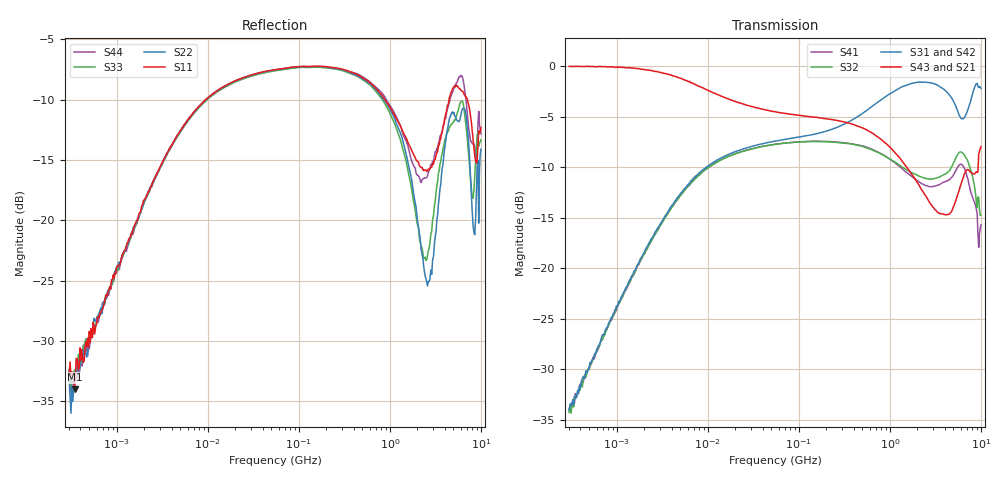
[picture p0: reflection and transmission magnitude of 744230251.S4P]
! This data is being provided by Wuerth Elektronik eiSos GmbH & Co. KG to the industry for analysis.
! Document information:
! Version:rev19a Date: 16/12/2019
! Component information:
! Match Code: WE-CNSW P/N: 744230251 Size: 0603
! Disclaimer:  While Würth Elektronik eiSos has made every reasonable effort to ensure the accuracy
! of the information provided, Würth Elektronik eiSos does not guarantee the exemption of error on the
! data collection measurements, nor does Würth Elektronik eiSos guarantee that the information is current.
! Würth Elektronik eiSos reserves the right to make any adjustments at any time without notice.
! Würth Elektronik eiSos expressly disclaims all implied warranties regarding this measurement data collection.
! Note 1  This data measurement is representative according to the product implementation into the fixture.
! Component behavior is sensitive to implementation into the fixture, which includes board
! materials, trace geometry information, connector pin out, layer connection, use of de-embedding
! techniques, etc.
! Note 2 - The fixture was designed specifically to match the 50 Ohm line impedance, as well as the connector impedance,
! in order to accomplish a reliable measurement without reflections in the trace. Any other implementation of the fixture will change the obtained
! measurement performance. The used fixture behavior was de-embedded to accomplish reliable measurement results.
! The test setup consisted of the following:
!  - Agilent VNA E5071C or E5071B
!  - Calibrations are SOLT (short open load thru)
!  - De-embedding of the SMA's or line cards were included
!  - Equipment Settings -
!  - Sampling - 501 points
!  - IF BW  70 kHz
!  - Averaging  Not used
!  Port 1----->|1|  |2| -----> Port 3
!  |  DUT  |
!  Port 2----->|3|  |4| -----> Port 4
!*VNA Port --> |Port in Datasheet|
! |Port in Datasheet| --> VNA Port
! For further information regarding this testing, please contact
! Wuerth Elektronik eiSos
! Contact: EDA team in QDC
! Email: libraries@we-online.com or libraries@we-online.de
# Hz S dB R 50
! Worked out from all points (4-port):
!   501 points, 300 kHz to 10 GHz, reference 50 ohm
!   strongest paths, dB at 300 kHz, 4.054 MHz, 54.77 MHz, 740.1 MHz, 10 GHz:
!     S43: 0.0, -0.9, -4.5, -7.0, -8.0
!     S21: -0.1, -1.0, -4.6, -7.1, -8.0
!     S31: -34.0, -13.7, -7.4, -3.6, -2.2
!     S42: -34.1, -13.8, -7.4, -3.6, -2.1
!     S32: -34.2, -13.9, -7.7, -8.5, -14.7
!     S41: -34.0, -13.9, -7.7, -8.5, -15.7
!   lowest |S11| = -34.0 dB at 344 kHz (marker M1), VSWR 1.04, Z = 50.6 + j1.92 ohm
!   |S11| at or under -10 dB: start of sweep to 9.463 MHz; 886.5 MHz to 4.465 GHz (3.578 GHz wide, 134 % of centre); 7.11 GHz to end of sweep
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300000  -32.85 70.5  -0.06 -1.3  -33.28 87.4  -34.50 -94.1
        -0.06 -1.1  -33.16 73.4  -34.50 -92.7  -34.08 84.6
        -34.00 84.2  -34.24 -94.7  -32.36 84.0  -0.05 -1.3
        -33.95 -93.9  -34.08 82.7  -0.03 -1.2  -32.43 72.5
344009  -34.00 72.2  -0.03 -1.1  -33.20 84.9  -32.51 -94.1
        -0.06 -1.3  -32.87 69.2  -33.42 -96.4  -33.09 84.2
        -32.63 87.3  -32.70 -91.9  -32.38 86.3  -0.04 -1.2
        -33.32 -92.7  -32.79 85.8  -0.05 -1.3  -33.62 82.1
1.616086e7  -8.76 23.8  -3.24 -13.8  -8.82 26.1  -8.99 -156.3
            -3.25 -13.8  -8.77 23.4  -9.02 -156.4  -8.81 26.1
            -8.82 26.0  -9.02 -156.5  -8.86 23.6  -3.20 -13.7
            -9.01 -156.4  -8.81 26.1  -3.20 -13.6  -8.87 23.8
6.738867e8  -8.90 -26.2  -6.82 -41.5  -3.83 15.4  -8.34 140.2
            -6.82 -41.6  -8.99 -35.0  -8.38 132.2  -3.83 15.4
            -3.83 15.4  -8.39 132.2  -9.15 -33.7  -6.76 -41.7
            -8.34 140.2  -3.83 15.4  -6.76 -41.7  -8.83 -26.2
2.643622e9  -15.75 -5.7  -13.36 -102.7  -1.62 -12.6  -11.89 74.1
            -13.37 -102.7  -25.06 -8.9  -11.15 56.8  -1.46 -13.3
            -1.62 -12.6  -11.14 56.9  -22.50 -12.1  -13.26 -106.5
            -11.89 74.1  -1.45 -13.2  -13.27 -106.6  -16.01 -7.7
5.149228e9  -8.82 4.0  -14.19 172.1  -3.71 -35.1  -10.58 10.6
            -14.20 172.0  -11.34 17.3  -9.35 3.0  -3.62 -38.1
            -3.71 -35.1  -9.36 3.3  -11.63 12.9  -13.63 166.7
            -10.56 10.5  -3.61 -37.9  -13.61 166.5  -8.97 -0.5
1e10  -12.30 -15.7  -8.00 19.7  -2.17 -59.1  -15.66 163.3
      -7.97 18.9  -14.08 1.4  -14.74 177.5  -2.10 -60.6
      -2.21 -59.2  -14.73 178.4  -13.32 5.9  -7.99 20.0
      -15.69 163.3  -2.08 -60.1  -7.97 20.1  -12.82 -18.1
